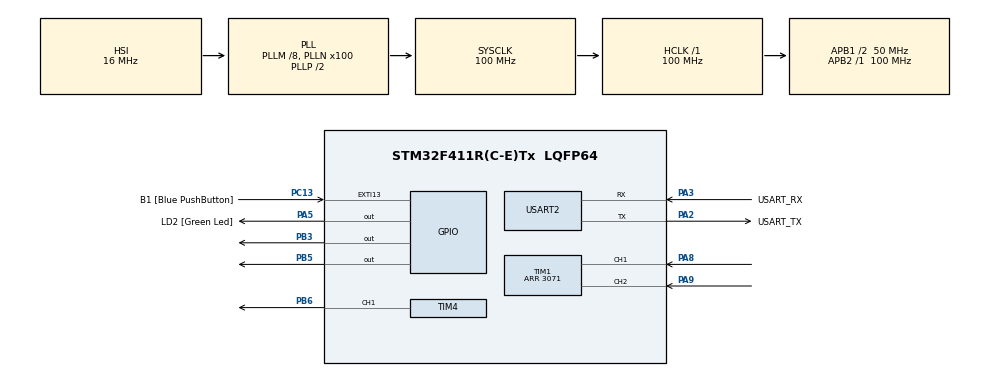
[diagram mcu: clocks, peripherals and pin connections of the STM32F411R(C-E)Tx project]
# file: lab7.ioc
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Mcu.Family=STM32F4
Mcu.Name=STM32F411R(C-E)Tx
Mcu.Package=LQFP64
NVIC.PriorityGroup=NVIC_PRIORITYGROUP_0
PA13.GPIO_Label=TMS
PA13.Mode=Serial_Wire
PA13.Signal=SYS_JTMS-SWDIO
PA14.GPIO_Label=TCK
PA14.Mode=Serial_Wire
PA14.Signal=SYS_JTCK-SWCLK
PA2.GPIO_Label=USART_TX
PA2.Mode=Asynchronous
PA2.Signal=USART2_TX
PA3.GPIO_Label=USART_RX
PA3.Mode=Asynchronous
PA3.Signal=USART2_RX
PA5.GPIO_Label=LD2 [Green Led]
PA5.Signal=GPIO_Output
PA8.Signal=S_TIM1_CH1
PA9.Signal=S_TIM1_CH2
PB3.GPIO_ModeDefaultOutputPP=GPIO_MODE_OUTPUT_OD
PB3.GPIO_PuPd=GPIO_PULLUP
PB3.Signal=GPIO_Output
PB5.GPIO_ModeDefaultOutputPP=GPIO_MODE_OUTPUT_OD
PB5.GPIO_PuPd=GPIO_PULLUP
PB5.Signal=GPIO_Output
PB6.Signal=S_TIM4_CH1
PC13-ANTI_TAMP.GPIO_Label=B1 [Blue PushButton]
PC13-ANTI_TAMP.GPIO_ModeDefaultEXTI=GPIO_MODE_IT_FALLING
PC13-ANTI_TAMP.Signal=GPXTI13
PC14-OSC32_IN.Mode=LSE-External-Oscillator
PC14-OSC32_IN.Signal=RCC_OSC32_IN
PC15-OSC32_OUT.Mode=LSE-External-Oscillator
PC15-OSC32_OUT.Signal=RCC_OSC32_OUT
PH0\ -\ OSC_IN.Mode=HSE-External-Clock-Source
PH0\ -\ OSC_IN.Signal=RCC_OSC_IN
PH1\ -\ OSC_OUT.Mode=HSE-External-Clock-Source
PH1\ -\ OSC_OUT.Signal=RCC_OSC_OUT
ProjectManager.HeapSize=0x200
ProjectManager.StackSize=0x400
ProjectManager.TargetToolchain=STM32CubeIDE
RCC.48MHZClocksFreq_Value=50000000
RCC.AHBFreq_Value=100000000
RCC.APB1CLKDivider=RCC_HCLK_DIV2
RCC.APB1Freq_Value=50000000
RCC.APB1TimFreq_Value=100000000
RCC.APB2Freq_Value=100000000
RCC.APB2TimFreq_Value=100000000
RCC.CortexFreq_Value=100000000
RCC.FLatency-AdvancedSettings=FLASH_LATENCY_3
RCC.HCLKFreq_Value=100000000
RCC.HSE_VALUE=8000000
RCC.HSI_VALUE=16000000
RCC.PLLM=8
RCC.PLLN=100
RCC.SYSCLKFreq_VALUE=100000000
RCC.SYSCLKSource=RCC_SYSCLKSOURCE_PLLCLK
RCC.VCOOutputFreq_Value=200000000
SH.S_TIM1_CH1.0=TIM1_CH1,Encoder_Interface
SH.S_TIM1_CH2.0=TIM1_CH2,Encoder_Interface
SH.S_TIM4_CH1.0=TIM4_CH1,PWM Generation1 CH1
TIM1.EncoderMode=TIM_ENCODERMODE_TI12
TIM1.IC1Filter=3
TIM1.IC2Filter=10
TIM1.Period=3071
TIM2.Prescaler=99
TIM4.Channel-PWM\ Generation1\ CH1=TIM_CHANNEL_1
TIM4.Period=20000
TIM4.Prescaler=0
TIM4.Pulse-PWM\ Generation1\ CH1=0
USART2.VirtualMode=VM_ASYNC
VP_TIM2_VS_ClockSourceINT.Mode=Internal
VP_TIM3_VS_ClockSourceINT.Mode=Internal
board=NUCLEO-F411RE

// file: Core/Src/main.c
/* USER CODE BEGIN Header */
/**
 ******************************************************************************
 * @file           : main.c
 * @brief          : Main program body
 ******************************************************************************
 * @attention
 *
 * <h2><center>&copy; Copyright (c) 2021 STMicroelectronics.
 * All rights reserved.</center></h2>
 *
 * This software component is licensed by ST under BSD 3-Clause license,
 * the "License"; You may not use this file except in compliance with the
 * License. You may obtain a copy of the License at:
 *                        opensource.org/licenses/BSD-3-Clause
 *
 ******************************************************************************
 */
/* USER CODE END Header */
#include "main.h"

/* USER CODE BEGIN Includes */
#include "math.h"
/* USER CODE END Includes */

TIM_HandleTypeDef htim1;
TIM_HandleTypeDef htim2;
TIM_HandleTypeDef htim3;
TIM_HandleTypeDef htim4;

UART_HandleTypeDef huart2;

/* USER CODE BEGIN PV */
uint64_t _micros = 0;
float EncoderVel = 0;
uint64_t Timestamp_Encoder = 0;
float rpm=0;
float data[10]={0};
float raw=0;
int32_t PWMOut=0;
float error=0;
float setrpm=15;
float p=0;
float i=0;
float d=0;
float pre_error=0;
float kp=350;
float ki=3.5;
float kd=10;
int32_t PWMOutABS =0;
uint8_t n=0;uint8_t push=0;
float a=2.3;float w=8;float rad=0;
float Q=0;float R=0;float theta_est=0;float omega_est=0;float dt=0.01;float theta_pd=0;float y=0;float p11=0;
float p12=0;float p21=0;float p22=0;float omega_pd=0;float a0=0;float a1=0;float a2=0;float a3=0;float a4=0;float a5=0;
float sb=0;float sa=0;float tf=0;float vb=0;float sbf=0;float t=0;float Vmax=0;float vcon =0;
/* USER CODE END PV */

void SystemClock_Config(void);
static void MX_GPIO_Init(void);
static void MX_USART2_UART_Init(void);
static void MX_TIM1_Init(void);
static void MX_TIM2_Init(void);
static void MX_TIM3_Init(void);
static void MX_TIM4_Init(void);
/* USER CODE BEGIN PFP */
uint64_t micros();

float EncoderVelocity_Update();
void pid();
void kalmanfilter();
void planning();
/* USER CODE END PFP */

int main(void)
{

  /* MCU Configuration--------------------------------------------------------*/

  /* Reset of all peripherals, Initializes the Flash interface and the Systick. */
  HAL_Init();

  /* Configure the system clock */
  SystemClock_Config();

  /* Initialize all configured peripherals */
  MX_GPIO_Init();
  MX_USART2_UART_Init();
  MX_TIM1_Init();
  MX_TIM2_Init();
  MX_TIM3_Init();
  MX_TIM4_Init();
  /* USER CODE BEGIN 2 */
	//HAL_TIM_Base_Start_IT(&htim3);
	HAL_TIM_Encoder_Start(&htim1, TIM_CHANNEL_ALL);
	HAL_TIM_PWM_Start(&htim4, TIM_CHANNEL_1);

  /* USER CODE END 2 */

  /* Infinite loop */
	while (1)
	{

    /* USER CODE BEGIN 3 */

		if(push==1)
		{push=0;
		HAL_TIM_Base_Start_IT(&htim3);}

	}
  /* USER CODE END 3 */
}

void SystemClock_Config(void)
{
  RCC_OscInitTypeDef RCC_OscInitStruct = {0};
  RCC_ClkInitTypeDef RCC_ClkInitStruct = {0};

  /** Configure the main internal regulator output voltage
  */
  __HAL_RCC_PWR_CLK_ENABLE();
  __HAL_PWR_VOLTAGESCALING_CONFIG(PWR_REGULATOR_VOLTAGE_SCALE1);
  /** Initializes the RCC Oscillators according to the specified parameters
  * in the RCC_OscInitTypeDef structure.
  */
  RCC_OscInitStruct.OscillatorType = RCC_OSCILLATORTYPE_HSI;
  RCC_OscInitStruct.HSIState = RCC_HSI_ON;
  RCC_OscInitStruct.HSICalibrationValue = RCC_HSICALIBRATION_DEFAULT;
  RCC_OscInitStruct.PLL.PLLState = RCC_PLL_ON;
  RCC_OscInitStruct.PLL.PLLSource = RCC_PLLSOURCE_HSI;
  RCC_OscInitStruct.PLL.PLLM = 8;
  RCC_OscInitStruct.PLL.PLLN = 100;
  RCC_OscInitStruct.PLL.PLLP = RCC_PLLP_DIV2;
  RCC_OscInitStruct.PLL.PLLQ = 4;
  if (HAL_RCC_OscConfig(&RCC_OscInitStruct) != HAL_OK)
  {
    Error_Handler();
  }
  /** Initializes the CPU, AHB and APB buses clocks
  */
  RCC_ClkInitStruct.ClockType = RCC_CLOCKTYPE_HCLK|RCC_CLOCKTYPE_SYSCLK
                              |RCC_CLOCKTYPE_PCLK1|RCC_CLOCKTYPE_PCLK2;
  RCC_ClkInitStruct.SYSCLKSource = RCC_SYSCLKSOURCE_PLLCLK;
  RCC_ClkInitStruct.AHBCLKDivider = RCC_SYSCLK_DIV1;
  RCC_ClkInitStruct.APB1CLKDivider = RCC_HCLK_DIV2;
  RCC_ClkInitStruct.APB2CLKDivider = RCC_HCLK_DIV1;

  if (HAL_RCC_ClockConfig(&RCC_ClkInitStruct, FLASH_LATENCY_3) != HAL_OK)
  {
    Error_Handler();
  }
}

static void MX_TIM1_Init(void)
{

  TIM_Encoder_InitTypeDef sConfig = {0};
  TIM_MasterConfigTypeDef sMasterConfig = {0};

  htim1.Instance = TIM1;
  htim1.Init.Prescaler = 0;
  htim1.Init.CounterMode = TIM_COUNTERMODE_UP;
  htim1.Init.Period = 3071;
  htim1.Init.ClockDivision = TIM_CLOCKDIVISION_DIV1;
  htim1.Init.RepetitionCounter = 0;
  htim1.Init.AutoReloadPreload = TIM_AUTORELOAD_PRELOAD_DISABLE;
  sConfig.EncoderMode = TIM_ENCODERMODE_TI12;
  sConfig.IC1Polarity = TIM_ICPOLARITY_RISING;
  sConfig.IC1Selection = TIM_ICSELECTION_DIRECTTI;
  sConfig.IC1Prescaler = TIM_ICPSC_DIV1;
  sConfig.IC1Filter = 3;
  sConfig.IC2Polarity = TIM_ICPOLARITY_RISING;
  sConfig.IC2Selection = TIM_ICSELECTION_DIRECTTI;
  sConfig.IC2Prescaler = TIM_ICPSC_DIV1;
  sConfig.IC2Filter = 10;
  if (HAL_TIM_Encoder_Init(&htim1, &sConfig) != HAL_OK)
  {
    Error_Handler();
  }
  sMasterConfig.MasterOutputTrigger = TIM_TRGO_RESET;
  sMasterConfig.MasterSlaveMode = TIM_MASTERSLAVEMODE_DISABLE;
  if (HAL_TIMEx_MasterConfigSynchronization(&htim1, &sMasterConfig) != HAL_OK)
  {
    Error_Handler();
  }

}

static void MX_TIM2_Init(void)
{

  TIM_ClockConfigTypeDef sClockSourceConfig = {0};
  TIM_MasterConfigTypeDef sMasterConfig = {0};

  htim2.Instance = TIM2;
  htim2.Init.Prescaler = 99;
  htim2.Init.CounterMode = TIM_COUNTERMODE_UP;
  htim2.Init.Period = 4294967295;
  htim2.Init.ClockDivision = TIM_CLOCKDIVISION_DIV1;
  htim2.Init.AutoReloadPreload = TIM_AUTORELOAD_PRELOAD_DISABLE;
  if (HAL_TIM_Base_Init(&htim2) != HAL_OK)
  {
    Error_Handler();
  }
  sClockSourceConfig.ClockSource = TIM_CLOCKSOURCE_INTERNAL;
  if (HAL_TIM_ConfigClockSource(&htim2, &sClockSourceConfig) != HAL_OK)
  {
    Error_Handler();
  }
  sMasterConfig.MasterOutputTrigger = TIM_TRGO_RESET;
  sMasterConfig.MasterSlaveMode = TIM_MASTERSLAVEMODE_DISABLE;
  if (HAL_TIMEx_MasterConfigSynchronization(&htim2, &sMasterConfig) != HAL_OK)
  {
    Error_Handler();
  }

}

static void MX_TIM3_Init(void)
{

  TIM_ClockConfigTypeDef sClockSourceConfig = {0};
  TIM_MasterConfigTypeDef sMasterConfig = {0};

  htim3.Instance = TIM3;
  htim3.Init.Prescaler = 0;
  htim3.Init.CounterMode = TIM_COUNTERMODE_UP;
  htim3.Init.Period = 65535;
  htim3.Init.ClockDivision = TIM_CLOCKDIVISION_DIV1;
  htim3.Init.AutoReloadPreload = TIM_AUTORELOAD_PRELOAD_DISABLE;
  if (HAL_TIM_Base_Init(&htim3) != HAL_OK)
  {
    Error_Handler();
  }
  sClockSourceConfig.ClockSource = TIM_CLOCKSOURCE_INTERNAL;
  if (HAL_TIM_ConfigClockSource(&htim3, &sClockSourceConfig) != HAL_OK)
  {
    Error_Handler();
  }
  sMasterConfig.MasterOutputTrigger = TIM_TRGO_RESET;
  sMasterConfig.MasterSlaveMode = TIM_MASTERSLAVEMODE_DISABLE;
  if (HAL_TIMEx_MasterConfigSynchronization(&htim3, &sMasterConfig) != HAL_OK)
  {
    Error_Handler();
  }

}

static void MX_TIM4_Init(void)
{

  TIM_MasterConfigTypeDef sMasterConfig = {0};
  TIM_OC_InitTypeDef sConfigOC = {0};

  htim4.Instance = TIM4;
  htim4.Init.Prescaler = 0;
  htim4.Init.CounterMode = TIM_COUNTERMODE_UP;
  htim4.Init.Period = 20000;
  htim4.Init.ClockDivision = TIM_CLOCKDIVISION_DIV1;
  htim4.Init.AutoReloadPreload = TIM_AUTORELOAD_PRELOAD_DISABLE;
  if (HAL_TIM_PWM_Init(&htim4) != HAL_OK)
  {
    Error_Handler();
  }
  sMasterConfig.MasterOutputTrigger = TIM_TRGO_RESET;
  sMasterConfig.MasterSlaveMode = TIM_MASTERSLAVEMODE_DISABLE;
  if (HAL_TIMEx_MasterConfigSynchronization(&htim4, &sMasterConfig) != HAL_OK)
  {
    Error_Handler();
  }
  sConfigOC.OCMode = TIM_OCMODE_PWM1;
  sConfigOC.Pulse = 0;
  sConfigOC.OCPolarity = TIM_OCPOLARITY_HIGH;
  sConfigOC.OCFastMode = TIM_OCFAST_DISABLE;
  if (HAL_TIM_PWM_ConfigChannel(&htim4, &sConfigOC, TIM_CHANNEL_1) != HAL_OK)
  {
    Error_Handler();
  }
  HAL_TIM_MspPostInit(&htim4);

}

static void MX_USART2_UART_Init(void)
{

  huart2.Instance = USART2;
  huart2.Init.BaudRate = 115200;
  huart2.Init.WordLength = UART_WORDLENGTH_8B;
  huart2.Init.StopBits = UART_STOPBITS_1;
  huart2.Init.Parity = UART_PARITY_NONE;
  huart2.Init.Mode = UART_MODE_TX_RX;
  huart2.Init.HwFlowCtl = UART_HWCONTROL_NONE;
  huart2.Init.OverSampling = UART_OVERSAMPLING_16;
  if (HAL_UART_Init(&huart2) != HAL_OK)
  {
    Error_Handler();
  }

}

static void MX_GPIO_Init(void)
{
  GPIO_InitTypeDef GPIO_InitStruct = {0};

  /* GPIO Ports Clock Enable */
  __HAL_RCC_GPIOC_CLK_ENABLE();
  __HAL_RCC_GPIOH_CLK_ENABLE();
  __HAL_RCC_GPIOA_CLK_ENABLE();
  __HAL_RCC_GPIOB_CLK_ENABLE();

  /*Configure GPIO pin Output Level */
  HAL_GPIO_WritePin(LD2_GPIO_Port, LD2_Pin, GPIO_PIN_RESET);

  /*Configure GPIO pin Output Level */
  HAL_GPIO_WritePin(GPIOB, GPIO_PIN_3|GPIO_PIN_5, GPIO_PIN_RESET);

  /*Configure GPIO pin : B1_Pin */
  GPIO_InitStruct.Pin = B1_Pin;
  GPIO_InitStruct.Mode = GPIO_MODE_IT_FALLING;
  GPIO_InitStruct.Pull = GPIO_NOPULL;
  HAL_GPIO_Init(B1_GPIO_Port, &GPIO_InitStruct);

  /*Configure GPIO pin : LD2_Pin */
  GPIO_InitStruct.Pin = LD2_Pin;
  GPIO_InitStruct.Mode = GPIO_MODE_OUTPUT_PP;
  GPIO_InitStruct.Pull = GPIO_NOPULL;
  GPIO_InitStruct.Speed = GPIO_SPEED_FREQ_LOW;
  HAL_GPIO_Init(LD2_GPIO_Port, &GPIO_InitStruct);

  /*Configure GPIO pins : PB3 PB5 */
  GPIO_InitStruct.Pin = GPIO_PIN_3|GPIO_PIN_5;
  GPIO_InitStruct.Mode = GPIO_MODE_OUTPUT_OD;
  GPIO_InitStruct.Pull = GPIO_PULLUP;
  GPIO_InitStruct.Speed = GPIO_SPEED_FREQ_LOW;
  HAL_GPIO_Init(GPIOB, &GPIO_InitStruct);

}

/* USER CODE BEGIN 4 */
#define  HTIM_ENCODER htim1
#define  MAX_SUBPOSITION_OVERFLOW 1536
#define  MAX_ENCODER_PERIOD 3072

float EncoderVelocity_Update()
{   static uint32_t EncoderLastPosition = 0;
	static uint64_t EncoderLastTimestamp = 0;
	uint32_t EncoderNowPosition = HTIM_ENCODER.Instance->CNT;
	uint64_t EncoderNowTimestamp = micros();
	int32_t EncoderPositionDiff;
	uint64_t EncoderTimeDiff;
	EncoderTimeDiff = EncoderNowTimestamp - EncoderLastTimestamp;
	EncoderPositionDiff = EncoderNowPosition - EncoderLastPosition;
	if (EncoderPositionDiff >= MAX_SUBPOSITION_OVERFLOW)
	{EncoderPositionDiff -= MAX_ENCODER_PERIOD;}
	else if (-EncoderPositionDiff >= MAX_SUBPOSITION_OVERFLOW)
	{EncoderPositionDiff += MAX_ENCODER_PERIOD;}
	EncoderLastPosition = EncoderNowPosition;
	EncoderLastTimestamp = EncoderNowTimestamp;
	raw =(float)(EncoderPositionDiff * 1000000.00*60.00/3072.00) / (float) EncoderTimeDiff;
	rad = (float)(0.10472*raw);
	return  (float)(EncoderPositionDiff * 1000000) / (float) EncoderTimeDiff;
}

void pid()
{
 error = vcon -omega_est ;
 p = (error);
 i = i+error;
 d = error - pre_error;
 pre_error = error;
 PWMOut = (p*kp)+(i*ki)+(d*kd);
 if (PWMOut<0)
 {
	 PWMOutABS = -1*PWMOut;
	 HAL_GPIO_WritePin(GPIOB ,GPIO_PIN_3, 0);
	 if(vb==0)
	 {
		 PWMOut=0;
	     PWMOutABS = 0;
	     omega_est=0;
	     theta_est=0;
	     omega_pd=0;
	     theta_pd=0;
	 }
 }
 else
 {   PWMOutABS = PWMOut;
	 HAL_GPIO_WritePin(GPIOB, GPIO_PIN_3, 1);
	 if(vb==0)
		 {
		 PWMOut=0;
		 PWMOutABS = 0;
		 omega_est=0;
		 omega_pd=0;
		 }
 }
 __HAL_TIM_SET_COMPARE(&htim4, TIM_CHANNEL_1, PWMOutABS);

}

void kalmanfilter()
{    Q = pow(a,2);
	 R = pow(w,2);
	 theta_est = theta_pd + omega_pd*dt;
	 omega_est = omega_pd;
	 y = (rad-omega_est);

    p11 = p11 + dt*p21+ (Q*pow(dt,4))/4 + (pow(dt,2))*(p12+dt*p22)/dt;
    p12 = p12 + dt*p22 + (Q*dt*pow(dt,2))/2;
    p21 = (2*dt*p21+Q*pow(dt,4) + 2*p22*pow(dt,2))/(2*dt);
    p22 = Q*pow(dt,2)+p22;

    theta_est+= (p12*y)/(R+p22);
    omega_est+= (p22*y)/(R+p22);

    p11=p11-(p12*p21)/(R+p22);
    p12=p12-(p22*p21)/(R+p22);
    p21=-p21*(p22/(R+p22)-1);
    p22=-p22*(p22/(R+p22)-1);

    theta_pd=theta_est;
    omega_pd=omega_est;
}

void planning()

{ t=t+0.01;
  Vmax = 0.300;
  sb=30*0.0174533;
  sa=0;
  a0=0;
  a1=0;
  a2=0;
  a3= 10.00*(sb-sa)/(pow(tf,3));
  a4= -15.00*(sb-sa)/(pow(tf,4));
  a5= 6.00*(sb-sa)/(pow(tf,5));
  tf = 15.00*(sb-sa)/(8.00*Vmax);
  if(t<=tf){
  sbf =  a3*pow(t,3)+a4*pow(t,4)+a5*pow(t,5);vb= (float)((3*a3*pow(t,2))+(4*a4*pow(t,3))+(5*a5*pow(t,4)));
  vcon = 0.10472*vb;}
  else{t=tf;vb=0;HAL_TIM_Base_Stop_IT(&htim3);}
}
void HAL_TIM_PeriodElapsedCallback(TIM_HandleTypeDef *htim)
{
	if (htim == &htim2)
	{
	_micros += 4294967295;
	}
	if (htim==&htim3)
	{ EncoderVelocity_Update();
	  planning();
	  kalmanfilter();
	  pid();
	}
}
uint64_t micros()
{
	return _micros + htim2.Instance->CNT;
}

/* USER CODE END 4 */

void Error_Handler(void)
{
	__disable_irq();
	while (1)
	{
	}
}

/************************ (C) COPYRIGHT STMicroelectronics *****END OF FILE****/
